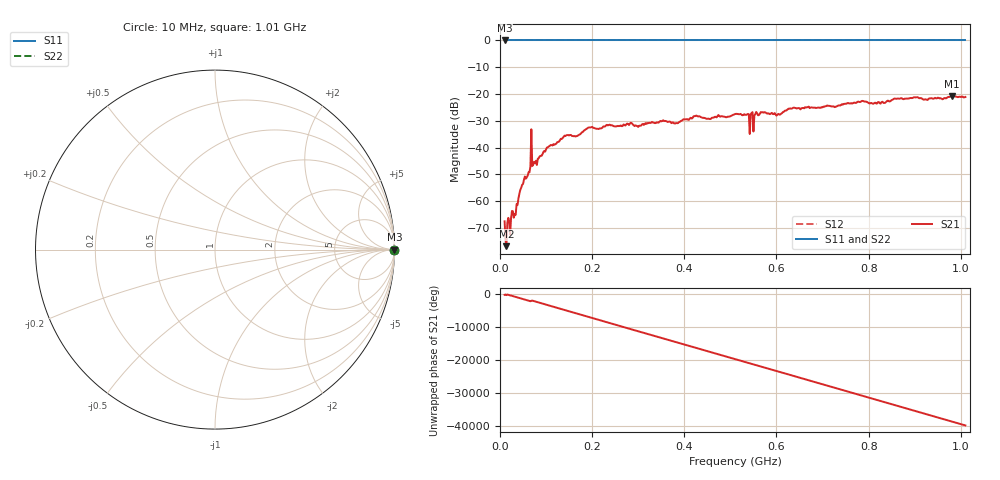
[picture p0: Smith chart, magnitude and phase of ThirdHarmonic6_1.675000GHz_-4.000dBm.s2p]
! 8/16/2025 8:05:21 PM
! C:\ANRITSUVNA\TEMP\TEMP.S2P
! CHANNEL.1
! TR.MEASUREMENT
! RAW.DATA
! RF.CORRECTION.OFF
! AVERAGING.OFF
! IF.BANDWIDTH: 5KHZ
! SWEEPTYPE:  FREQ.SWEEP(Linear)
! Reference Plane Port Info
! PORT:  PORT1  PORT2
! DISTANCE:  0  m  0  m
! TIME:  0  s  0  s
! PHASE.OFFSET:  0  deg.  0  deg.
! LOSS:  0  dB  0  dB
! REF.LOSS:  0  dB  0  dB
! REF.FREQ:  0  Hz  0  Hz
! Power Info
! POWER:  -20  dBm  -20  dBm
! EFF.POWER:  -20  dBm  -20  dBm
! SOURCE.ATTEN:  0  dB  0  dB
! TEST.ATTEN:  0  dB  0  dB
# GHZ S RI R 50.0
! FREQ.GHZ  S11RE  S11IM  S21RE  S21IM  S12RE  S12IM  S22RE  S22IM
!; PortSelection: Port_12
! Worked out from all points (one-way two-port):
!   501 points, 10 MHz to 1.01 GHz, reference 50 ohm
!   highest |S21| = -20.76 dB at 980 MHz (marker M1); lowest = -76.8 dB at 14 MHz (marker M2)
!   lowest |S11| = 0.0 dB at 10 MHz (marker M3)
!   |S11| at or under -10 dB: nowhere
!   |S22| runs from 0.0 to 0.0 dB; largest |S21 - S12| = 1.1
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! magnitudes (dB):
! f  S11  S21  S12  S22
! 10 MHz  0.0  -67.5  0.0  0.0
! 14 MHz  0.0  -76.8  0.0  0.0
! 34 MHz  0.0  -65.1  0.0  0.0
! 44 MHz  0.0  -55.8  0.0  0.0
! 62 MHz  0.0  -49.2  0.0  0.0
! 64 MHz  0.0  -49.2  0.0  0.0
! 70 MHz  0.0  -46.9  0.0  0.0
! 76 MHz  0.0  -45.8  0.0  0.0
! 106 MHz  0.0  -39.6  0.0  0.0
! 142 MHz  0.0  -35.7  0.0  0.0
! 178 MHz  0.0  -34.3  0.0  0.0
! 196 MHz  0.0  -32.5  0.0  0.0
! 344 MHz  0.0  -30.7  0.0  0.0
! 510 MHz  0.0  -27.5  0.0  0.0
! 536 MHz  0.0  -27.6  0.0  0.0
! 546 MHz  0.0  -27.0  0.0  0.0
! 570 MHz  0.0  -26.8  0.0  0.0
! 604 MHz  0.0  -27.4  0.0  0.0
! 678 MHz  0.0  -25.1  0.0  0.0
! 844 MHz  0.0  -22.7  0.0  0.0
! 980 MHz  0.0  -20.8  0.0  0.0
! 1.01 GHz  0.0  -21.1  0.0  0.0
